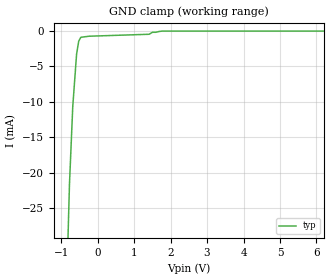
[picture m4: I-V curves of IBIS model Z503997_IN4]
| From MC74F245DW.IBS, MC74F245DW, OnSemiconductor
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| (C) COPYRIGHT 1993-2000
| MENTOR GRAPHICS CORPORATION
| ICX STANDARD LIBRARY, ICX PROJECT MODELING,
| ICX CUSTOM MODELING, ICX VENDOR MODEL
| ALL RIGHTS RESERVED.
| THE FOLLOWING ARE TRADEMARKS OR SERVICE MARKS OF
| MENTOR GRAPHICS CORPORATION:ICX (R), ICX STANDARD
| LIBRARY(R), ICX PROJECT MODELING(R), ICX CUSTOM
| MODELING(R), qualityIBIS(TM), MODELVIEWER(TM),
| AND MODELEDITOR(TM)
| ALL COPIES OF SOFTWARE, INCLUDING BUT NOT LIMITED TO
| ANY MODIFICATIONS, ENHANCEMENTS OR DERIVATIVE WORKS,
| MUST CONTAIN ALL MENTOR GRAPHICS CORPORATION'S
| NOTICES AND LEGENDS, INCLUDING THOSE EMBEDDED IN
| SOFTWARE AND THOSE AFFIXED TO SOFTWARE MEDIUM
| AND CONTAINER, AS RECEIVED FROM MENTOR GRAPHICS
| CORPORATION.
| Model Application Version 1.89 2/18/99.
[Model] Z503997_IN4
Model_type Input
Vinl = 800.0mV
Vinh = 2.000V
C_comp 4.000pF NA NA
| variable typ   min   max
[Voltage Range] 5.000V NA NA
[GND Clamp Reference] 0.000V NA NA
[POWER Clamp Reference] 5.000V NA NA
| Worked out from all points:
|   GND clamp passes 1 mA (typ) near -0.47 V on its own axis
[GND Clamp]
-5V       -814.9mA   NA         NA
-771mV    -21.63mA   NA         NA
-680.7mV  -10.66mA   NA         NA
-576.2mV  -3.267mA   NA         NA
-517.4mV  -1.428mA   NA         NA
-459mV    -882.2uA   NA         NA
-229.5mV  -728.6uA   NA         NA
1.411V    -454.1uA   NA         NA
1.504V    -172.7uA   NA         NA
1.762V    -4.586uA   NA         NA
10V       -4.586uA   NA         NA
[POWER Clamp]
-5V       0A         NA         NA
10V       0A         NA         NA
